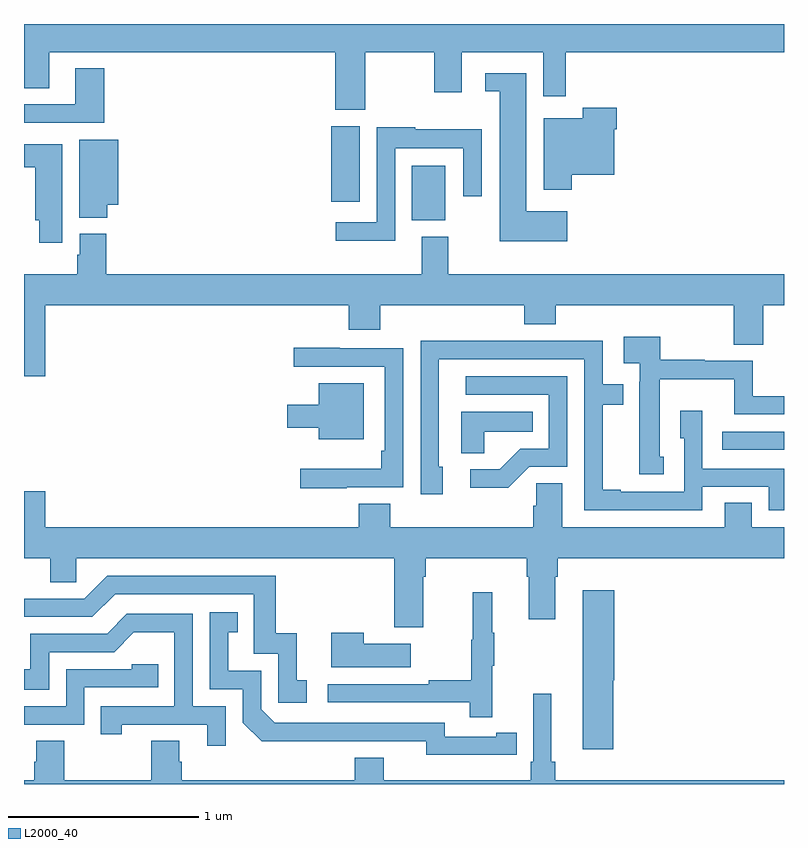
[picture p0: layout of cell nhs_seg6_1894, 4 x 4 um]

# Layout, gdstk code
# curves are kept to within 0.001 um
import gdstk
lib = gdstk.Library(unit=1e-6, precision=1e-09)
def R(c, l, rs):  # rectangles x0, y0, x1, y1
    for r in rs: c.add(gdstk.rectangle(r[:2], r[2:], *l))
def P(c, l, *ps):  # polygons
    for p in ps: c.add(gdstk.Polygon(p, *l))
L2000_40 = (2000, 40)

nhs_seg6_1894 = lib.new_cell('nhs_seg6_1894')
R(nhs_seg6_1894, L2000_40, [(228.675,929.259,229,929.355), (227.042,930.467,227.218,930.754), (226.616,930.564,226.768,930.963)])
P(nhs_seg6_1894, L2000_40, [(226.797,931.352),(227.158,931.352),(227.158,931.14),(227.305,931.14),(227.305,931.352),(227.732,931.352),(227.732,931.119),(227.851,931.119),(227.851,931.352),(229,931.352),(229,931.5),(225,931.5),(225,931.162),(225.133,931.162),(225.133,931.352),(226.637,931.352),(226.637,931.048),(226.797,931.048)],
  [(225.422,931.267),(225.269,931.267),(225.269,931.077),(225,931.077),(225,930.981),(225.422,930.981)],
  [(227.86,930.514),(227.644,930.514),(227.644,931.242),(227.427,931.242),(227.427,931.145),(227.504,931.145),(227.504,930.356),(227.86,930.356)],
  [(227.882,930.707),(228.106,930.707),(228.106,930.947),(228.119,930.947),(228.119,931.06),(227.941,931.06),(227.941,931.003),(227.735,931.003),(227.735,930.627),(227.882,930.627)],
  [(226.953,930.845),(227.313,930.845),(227.313,930.594),(227.409,930.594),(227.409,930.946),(227.06,930.946),(227.06,930.956),(226.857,930.956),(226.857,930.456),(226.641,930.456),(226.641,930.359),(226.953,930.359)],
  [(225.437,930.548),(225.496,930.548),(225.496,930.892),(225.29,930.892),(225.29,930.481),(225.437,930.481)],
  [(225.202,930.868),(225,930.868),(225,930.746),(225.059,930.746),(225.059,930.468),(225.08,930.468),(225.08,930.348),(225.202,930.348)],
  [(226.709,929.892),(226.874,929.892),(226.874,930.02),(227.633,930.02),(227.633,929.921),(227.798,929.921),(227.798,930.02),(228.736,930.02),(228.736,929.812),(228.891,929.812),(228.891,930.02),(229,930.02),(229,930.184),(227.233,930.184),(227.233,930.379),(227.093,930.379),(227.093,930.184),(225.434,930.184),(225.434,930.396),(225.293,930.396),(225.293,930.285),(225.281,930.285),(225.281,930.184),(225,930.184),(225,929.646),(225.112,929.646),(225.112,930.02),(226.709,930.02)],
  [(228.367,929.223),(228.346,929.223),(228.346,929.63),(228.737,929.63),(228.737,929.445),(229,929.445),(229,929.541),(228.836,929.541),(228.836,929.727),(228.582,929.727),(228.582,929.732),(228.349,929.732),(228.349,929.854),(228.156,929.854),(228.156,929.714),(228.24,929.714),(228.24,929.618),(228.239,929.618),(228.239,929.13),(228.367,929.13)],
  [(228.57,929.064),(228.921,929.064),(228.921,928.941),(229,928.941),(229,929.16),(228.57,929.16),(228.57,929.464),(228.455,929.464),(228.455,929.319),(228.474,929.319),(228.474,929.037),(228.142,929.037),(228.142,929.05),(228.047,929.05),(228.047,929.496),(228.154,929.496),(228.154,929.604),(228.045,929.604),(228.045,929.832),(227.549,929.832),(227.549,929.834),(227.088,929.834),(227.088,929.025),(227.203,929.025),(227.203,929.169),(227.184,929.169),(227.184,929.736),(227.949,929.736),(227.949,928.941),(228.57,928.941)],
  [(226.699,929.061),(226.995,929.061),(226.995,929.793),(226.663,929.793),(226.663,929.797),(226.419,929.797),(226.419,929.697),(226.899,929.697),(226.899,929.254),(226.879,929.254),(226.879,929.158),(226.455,929.158),(226.455,929.057),(226.699,929.057)],
  [(227.658,929.169),(227.859,929.169),(227.859,929.646),(227.325,929.646),(227.325,929.55),(227.763,929.55),(227.763,929.265),(227.613,929.265),(227.505,929.157),(227.349,929.157),(227.349,929.06),(227.548,929.06)],
  [(226.789,929.608),(226.55,929.608),(226.55,929.497),(226.386,929.497),(226.386,929.375),(226.55,929.375),(226.55,929.315),(226.789,929.315)],
  [(227.422,929.354),(227.678,929.354),(227.678,929.458),(227.3,929.458),(227.3,929.242),(227.422,929.242)],
  [(227.101,928.592),(227.114,928.592),(227.114,928.688),(227.645,928.688),(227.645,928.592),(227.657,928.592),(227.657,928.368),(227.797,928.368),(227.797,928.592),(227.81,928.592),(227.81,928.688),(229,928.688),(229,928.852),(228.829,928.852),(228.829,928.979),(228.689,928.979),(228.689,928.852),(227.833,928.852),(227.833,929.084),(227.695,929.084),(227.695,928.964),(227.681,928.964),(227.681,928.852),(226.928,928.852),(226.928,928.976),(226.763,928.976),(226.763,928.852),(225.112,928.852),(225.112,929.041),(225,929.041),(225,928.688),(225.137,928.688),(225.137,928.561),(225.276,928.561),(225.276,928.688),(226.949,928.688),(226.949,928.326),(227.101,928.326)],
  [(226.489,928.047),(226.436,928.047),(226.436,928.294),(226.325,928.294),(226.325,928.596),(225.438,928.596),(225.318,928.476),(225,928.476),(225,928.38),(225.36,928.38),(225.48,928.5),(226.209,928.5),(226.209,928.185),(226.338,928.185),(226.338,927.927),(226.489,927.927)],
  [(228.101,928.047),(228.106,928.047),(228.106,928.519),(227.942,928.519),(227.942,927.684),(228.101,927.684)],
  [(227.465,928.123),(227.476,928.123),(227.476,928.297),(227.465,928.297),(227.465,928.51),(227.362,928.51),(227.362,928.26),(227.355,928.26),(227.355,928.046),(227.131,928.046),(227.131,928.026),(226.599,928.026),(226.599,927.93),(227.347,927.93),(227.347,927.852),(227.465,927.852)],
  [(227.486,927.654),(227.594,927.654),(227.594,927.77),(227.486,927.77),(227.486,927.75),(227.214,927.75),(227.214,927.822),(226.32,927.822),(226.248,927.894),(226.248,928.095),(226.075,928.095),(226.075,928.299),(226.124,928.299),(226.124,928.405),(225.978,928.405),(225.978,927.999),(226.152,927.999),(226.152,927.822),(226.25,927.725),(227.118,927.726),(227.118,927.653)],
  [(226.062,927.909),(225.888,927.909),(225.888,928.395),(225.542,928.395),(225.437,928.29),(225.034,928.29),(225.034,928.105),(225,928.105),(225,927.996),(225.132,927.996),(225.132,928.194),(225.474,928.194),(225.578,928.298),(225.792,928.298),(225.792,927.909),(225.403,927.909),(225.403,927.762),(225.514,927.762),(225.514,927.813),(225.965,927.813),(225.965,927.702),(226.062,927.702)],
  [(227.035,928.237),(226.787,928.237),(226.787,928.297),(226.616,928.297),(226.616,928.115),(227.035,928.115)],
  [(225.318,928.008),(225.707,928.008),(225.707,928.131),(225.567,928.131),(225.567,928.104),(225.222,928.104),(225.222,927.909),(225,927.909),(225,927.813),(225.318,927.813)],
  [(229,927.52),(227.795,927.52),(227.795,927.616),(227.776,927.616),(227.776,927.976),(227.679,927.976),(227.679,927.616),(227.666,927.616),(227.666,927.52),(226.894,927.52),(226.894,927.637),(226.742,927.637),(226.742,927.52),(225.83,927.52),(225.83,927.618),(225.817,927.618),(225.817,927.728),(225.67,927.728),(225.67,927.52),(225.213,927.52),(225.213,927.728),(225.065,927.728),(225.065,927.618),(225.053,927.618),(225.053,927.52),(225,927.52),(225,927.5),(229,927.5)])

lib.write_gds('nhs_seg6_1894.gds')
